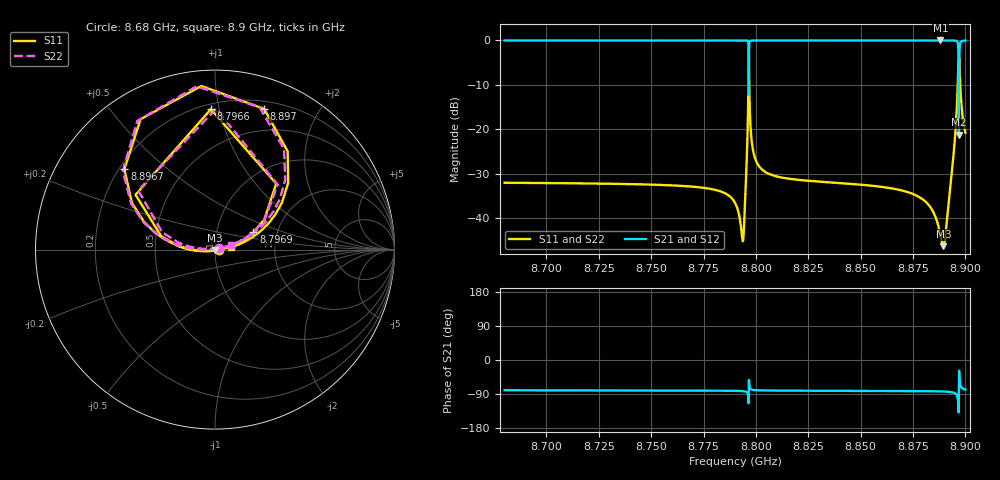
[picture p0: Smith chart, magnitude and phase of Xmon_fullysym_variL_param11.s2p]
! Sonnet Data File
! From: emgraph Version : 16.52
! From Project: 171117_Xmon_fullysym
! Data is De-embedded
! Data File Written: 11/26/2017 17:14:23
!< HDATE 11/22/2017 16:48:52
!< MDATE 11/23/2017 10:16:42
!< PARAMS
!< Lj = 11.0
!< Gap = 1.0
!< Pwid = 2000.0
!< Airgap = 6.0
!< Width = 10.0
!< Lj1 = 10.5
!< END PARAMS
# GHZ S MA R 50.90000
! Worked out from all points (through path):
!   2201 points, 8.68 GHz to 8.9 GHz, reference 50.9 ohm
!   highest |S21| = 0.00 dB at 8.8881 GHz (marker M1); lowest = -21.2 dB at 8.8969 GHz (marker M2)
!   lowest |S11| = -46.3 dB at 8.8895 GHz (marker M3), VSWR 1.01, Z = 50.9 - j0.492 ohm
!   |S11| at or under -10 dB: start of sweep to 8.7964 GHz; 8.7968 GHz to 8.8963 GHz (99.54 MHz wide, 1.13 % of centre); 8.89755 GHz to end of sweep
!   |S22| runs from -46.0 to -0.8 dB; largest |S21 - S12| = 4.5e-10
!   S11 on the Smith chart (normalised r, x): 8.68 GHz: 1.05, -0.00; 8.7966 GHz: 0.23, +0.94; 8.7969 GHz: 1.51, +0.31; 8.8967 GHz: 0.22, +0.36; 8.897 GHz: 0.27, +1.37; 8.9 GHz: 1.20, +0.03
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8.68  0.02505 -1.5  0.9997 -79.8  0.9997 -79.8  0.02505 22.0
!< P1 F=8.68 Eeff=(6.44843488 -2.9797e-5) Z0=(50.9086135 1.17022e-4) R=0.0 C=0.0
!< P2 F=8.68 Eeff=(6.44843488 -2.9797e-5) Z0=(50.9086135 1.17022e-4) R=0.0 C=0.0
8.7167  0.02466 -2.2  0.9997 -80.1  0.9997 -80.1  0.02466 21.9
8.7534  0.02372 -3.2  0.9997 -80.5  0.9997 -80.5  0.02373 22.1
8.79  0.01488 -12.5  0.9999 -81.4  0.9999 -81.4  0.01491 29.9
8.7938  0.005504 -86.3  0.9998 -82.3  0.9998 -82.3  0.005835 101.4
8.7946  0.01169 -144.7  0.9996 -82.8  0.9996 -82.8  0.012 156.2
8.7966  0.7824 91.7  0.2425 -58.8  0.2425 -58.8  0.7848 89.6
8.7969  0.2347 24.1  0.9595 -68.7  0.9595 -68.7  0.2353 24.6
8.799  0.05276 5.9  0.9984 -79.3  0.9984 -79.3  0.05281 16.0
8.8023  0.03643 2.0  0.9993 -80.3  0.9993 -80.3  0.03645 17.6
8.8267  0.02617 -2.4  0.9997 -81.1  0.9997 -81.1  0.02617 20.3
8.8634  0.02193 -5.3  0.9998 -81.7  0.9998 -81.7  0.02193 22.0
8.8809  0.01539 -11.5  0.9999 -82.2  0.9999 -82.2  0.0154 27.2
8.8881  0.006428 -42.8  0.9999 -82.9  0.9999 -82.9  0.006506 57.6
8.8895  0.004844 -85.7  0.9999 -83.1  0.9999 -83.1  0.004987 99.4
8.8939  0.04049 -169.9  0.9988 -85.5  0.9988 -85.5  0.04059 177.8
8.8958  0.1548 177.7  0.9848 -92.1  0.9848 -92.1  0.155 175.8
8.8967  0.6753 138.4  0.6741 -125.5  0.6741 -125.5  0.6759 139.5
8.8969  0.9147 94.8  0.08725 -70.3  0.08725 -70.3  0.9156 96.4
8.897  0.8302 70.7  0.4311 -28.3  0.4311 -28.3  0.831 72.6
8.8981  0.1907 16.3  0.9791 -72.2  0.9791 -72.2  0.1908 20.8
8.9  0.09183 8.4  0.9954 -78.0  0.9954 -78.0  0.09188 16.1
